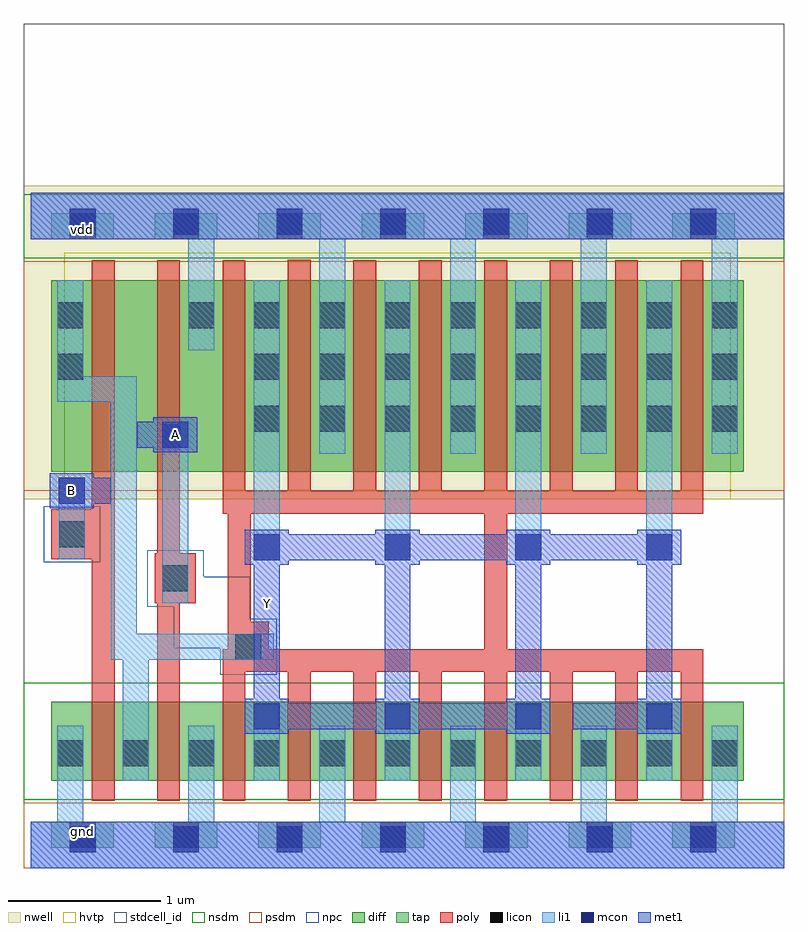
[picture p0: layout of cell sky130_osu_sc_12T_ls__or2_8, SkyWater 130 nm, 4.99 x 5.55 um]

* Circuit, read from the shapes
.subckt sky130_osu_sc_12T_ls__or2_8 A B Y gnd vdd
XM1 n1 B gnd gnd sky130_fd_pr__nfet_01v8 w=0.52 l=0.15
XM2 gnd A n1 gnd sky130_fd_pr__nfet_01v8 w=0.52 l=0.15
XM3 Y n1 gnd gnd sky130_fd_pr__nfet_01v8 w=0.52 l=0.15 m=8
XM4 n2 B n1 vdd sky130_fd_pr__pfet_01v8_hvt w=1.26 l=0.15
XM5 vdd A n2 vdd sky130_fd_pr__pfet_01v8_hvt w=1.26 l=0.15
XM6 Y n1 vdd vdd sky130_fd_pr__pfet_01v8_hvt w=1.26 l=0.15 m=8
.ends

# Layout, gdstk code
import gdstk
lib = gdstk.Library(unit=1e-6, precision=1e-09)
def R(c, l, rs):  # rectangles x0, y0, x1, y1
    for r in rs: c.add(gdstk.rectangle(r[:2], r[2:], *l))
def A(c, l, x, y, w, h, nx, ny, dx, dy):  # array of equal rectangles
    R(c, l, [(x+i*dx, y+j*dy, x+i*dx+w, y+j*dy+h) for i in range(nx) for j in range(ny)])
nwell = (64, 20)
diff = (65, 20)
tap = (65, 44)
poly = (66, 20)
licon = (66, 44)
li1 = (67, 20)
mcon = (67, 44)
met1 = (68, 20)
hvtp = (78, 44)
stdcell_id = (81, 4)
nsdm = (93, 44)
psdm = (94, 20)
npc = (95, 20)

sky130_osu_sc_12t_ls__or = lib.new_cell('sky130_osu_sc_12T_ls__or2_8')
R(sky130_osu_sc_12t_ls__or, nwell, [(-0.045,2.425,4.95,4.485)])
R(sky130_osu_sc_12t_ls__or, diff, [(0.135,0.575,4.685,1.095), (0.135,2.605,4.685,3.865)])
A(sky130_osu_sc_12t_ls__or, tap, 0.135, 0.135, 0.41, 0.17, 7, 2, 0.68, 4)
A(sky130_osu_sc_12t_ls__or, poly, 1.26, 0.445, 0.15, 0.845, 8, 1, 0.43, 0)
A(sky130_osu_sc_12t_ls__or, poly, 2.12, 2.48, 0.15, 1.515, 6, 1, 0.43, 0)
R(sky130_osu_sc_12t_ls__or, poly, [(0.4,0.445,0.55,2.03), (0.83,0.445,0.98,1.74), (1.26,1.29,4.42,1.44), (1.295,1.44,1.565,1.62), (2.98,1.44,3.13,2.33), (1.295,1.62,1.445,2.33), (0.815,1.74,1.085,2.07), (0.135,2.03,0.55,2.36), (0.83,2.07,0.98,3.995), (1.26,2.33,4.42,2.48), (0.4,2.36,0.55,3.995), (1.26,2.48,1.41,3.995), (1.69,2.48,1.84,4)])
A(sky130_osu_sc_12t_ls__or, licon, 0.255, 0.135, 0.17, 0.17, 7, 2, 0.68, 4)
A(sky130_osu_sc_12t_ls__or, licon, 0.175, 0.67, 0.17, 0.17, 11, 1, 0.43, 0)
A(sky130_osu_sc_12t_ls__or, licon, 1.465, 2.87, 0.17, 0.17, 8, 2, 0.43, 0.34)
A(sky130_osu_sc_12t_ls__or, licon, 1.035, 3.55, 0.17, 0.17, 9, 1, 0.43, 0)
R(sky130_osu_sc_12t_ls__or, licon, [(1.345,1.37,1.515,1.54), (0.865,1.82,1.035,1.99), (0.185,2.11,0.355,2.28), (0.175,3.21,0.345,3.38), (0.175,3.55,0.345,3.72)])
A(sky130_osu_sc_12t_ls__or, li1, 0.175, 0.305, 0.17, 0.63, 6, 1, 0.86, 0)
A(sky130_osu_sc_12t_ls__or, li1, 1.465, 0.575, 0.17, 0.51, 4, 1, 0.86, 0)
A(sky130_osu_sc_12t_ls__or, li1, 1.465, 2.025, 0.17, 1.84, 4, 1, 0.86, 0)
A(sky130_osu_sc_12t_ls__or, li1, 1.895, 2.725, 0.17, 1.41, 4, 1, 0.86, 0)
R(sky130_osu_sc_12t_ls__or, li1, [(0,0,4.95,0.305), (0.605,0.575,0.775,1.37), (0.525,1.37,1.595,1.54), (0.525,1.54,0.695,3.065), (0.865,1.74,1.035,2.935), (0.185,2.03,0.355,2.565), (0.175,3.065,0.695,3.235), (0.175,3.235,0.345,3.865), (1.035,3.405,1.205,4.135), (0,4.135,4.95,4.44)])
A(sky130_osu_sc_12t_ls__or, mcon, 0.255, 0.105, 0.17, 0.17, 7, 2, 0.68, 4.06)
A(sky130_osu_sc_12t_ls__or, mcon, 1.465, 0.915, 0.17, 0.17, 4, 2, 0.86, 1.11)
R(sky130_osu_sc_12t_ls__or, mcon, [(0.185,2.395,0.355,2.565), (0.865,2.765,1.035,2.935)])
A(sky130_osu_sc_12t_ls__or, met1, 1.405, 0.885, 0.29, 0.03, 4, 2, 0.86, 0.2)
A(sky130_osu_sc_12t_ls__or, met1, 1.465, 1.115, 0.17, 0.88, 4, 1, 0.86, 0)
A(sky130_osu_sc_12t_ls__or, met1, 1.405, 1.995, 0.29, 0.03, 4, 2, 0.86, 0.2)
R(sky130_osu_sc_12t_ls__or, met1, [(0,0,4.95,0.305), (1.405,0.915,3.415,1.085), (3.56,0.915,4.275,1.085), (1.405,2.025,4.275,2.195), (0.125,2.365,0.415,2.395), (0.125,2.395,0.525,2.565), (0.125,2.565,0.415,2.595), (0.805,2.735,1.095,2.765), (0.7,2.765,1.095,2.935), (0.805,2.935,1.095,2.965), (0,4.135,4.95,4.44)])
R(sky130_osu_sc_12t_ls__or, hvtp, [(0.22,2.425,4.6,4.045)])
R(sky130_osu_sc_12t_ls__or, stdcell_id, [(-0.045,0,4.95,5.55)])
R(sky130_osu_sc_12t_ls__or, nsdm, [(-0.045,0.45,4.95,1.22), (-0.045,4.01,4.95,4.43)])
R(sky130_osu_sc_12t_ls__or, psdm, [(-0.045,0,4.95,0.43), (-0.045,2.48,4.95,3.99)])
R(sky130_osu_sc_12t_ls__or, npc, [(1.245,1.27,1.615,1.445), (0.94,1.445,1.615,1.64), (0.94,1.64,1.44,1.72), (0.765,1.72,1.44,1.915), (0.765,1.915,1.135,2.09), (0.085,2.01,0.455,2.38)])
sky130_osu_sc_12t_ls__or.add(gdstk.Label('gnd', (0.34,0.24), layer=68, texttype=16))
sky130_osu_sc_12t_ls__or.add(gdstk.Label('vdd', (0.34,4.2), layer=68, texttype=16))
sky130_osu_sc_12t_ls__or.add(gdstk.Label('Y', (1.555,1.74), layer=68, texttype=5))
sky130_osu_sc_12t_ls__or.add(gdstk.Label('A', (0.95,2.85), layer=68, texttype=5))
sky130_osu_sc_12t_ls__or.add(gdstk.Label('B', (0.27,2.48), layer=68, texttype=5))

lib.write_gds('sky130_osu_sc_12T_ls__or2_8.gds')
